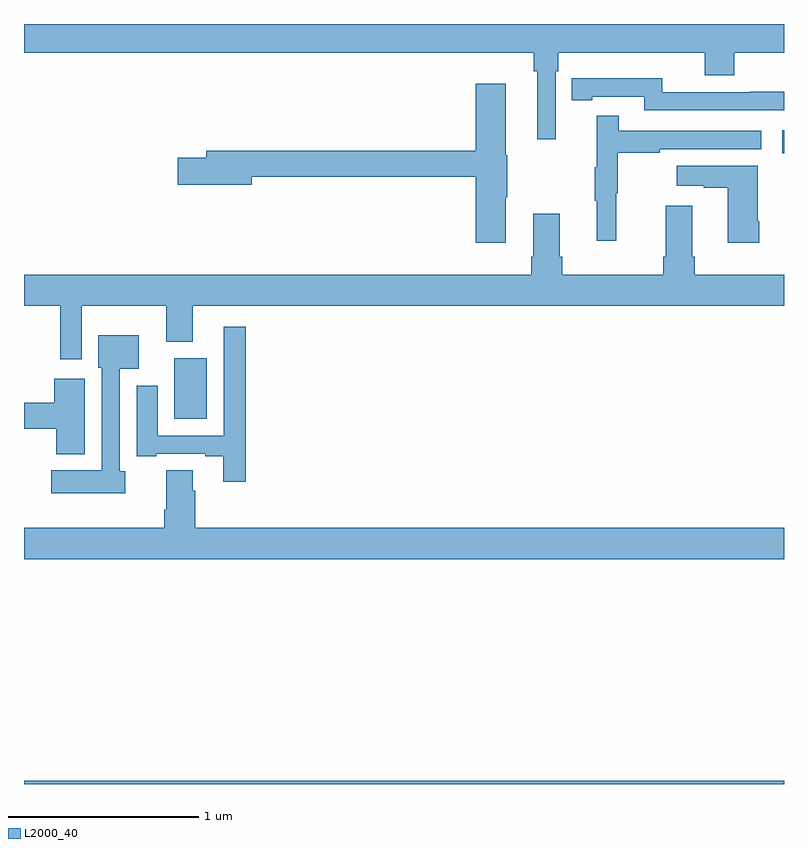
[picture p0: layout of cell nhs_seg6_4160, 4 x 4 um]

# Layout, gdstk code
import gdstk
lib = gdstk.Library(unit=1e-6, precision=1e-09)
def R(c, l, rs):  # rectangles x0, y0, x1, y1
    for r in rs: c.add(gdstk.rectangle(r[:2], r[2:], *l))
def P(c, l, *ps):  # polygons
    for p in ps: c.add(gdstk.Polygon(p, *l))
L2000_40 = (2000, 40)

nhs_seg6_4160 = lib.new_cell('nhs_seg6_4160')
R(nhs_seg6_4160, L2000_40, [(357,931.5,361,931.516), (357.791,933.422,357.961,933.742), (360.99,934.821,361,934.942)])
P(nhs_seg6_4160, L2000_40, [(359.799,935.252),(359.813,935.252),(359.813,935.348),(360.584,935.348),(360.584,935.231),(360.737,935.231),(360.737,935.348),(361,935.348),(361,935.5),(357,935.5),(357,935.348),(359.683,935.348),(359.683,935.252),(359.702,935.252),(359.702,934.893),(359.799,934.893)],
  [(361,935.144),(360.82,935.144),(360.82,935.142),(360.36,935.142),(360.36,935.215),(359.992,935.215),(359.992,935.214),(359.884,935.214),(359.884,935.098),(359.992,935.098),(359.992,935.118),(360.264,935.118),(360.264,935.046),(361,935.046)],
  [(359.536,934.588),(359.544,934.588),(359.544,934.809),(359.536,934.809),(359.536,935.185),(359.378,935.185),(359.378,934.832),(357.959,934.832),(357.959,934.796),(357.81,934.796),(357.81,934.654),(358.198,934.654),(358.198,934.696),(359.378,934.696),(359.378,934.35),(359.536,934.35)],
  [(360.116,934.608),(360.124,934.608),(360.124,934.822),(360.347,934.822),(360.347,934.842),(360.88,934.842),(360.88,934.938),(360.131,934.938),(360.131,935.017),(360.014,935.017),(360.014,934.745),(360.003,934.745),(360.003,934.571),(360.014,934.571),(360.014,934.359),(360.116,934.359)],
  [(360.87,934.462),(360.862,934.462),(360.862,934.753),(360.435,934.753),(360.435,934.649),(360.578,934.649),(360.578,934.639),(360.704,934.639),(360.704,934.35),(360.87,934.35)],
  [(357.304,934.016),(357.749,934.016),(357.749,933.827),(357.889,933.827),(357.889,934.016),(361,934.016),(361,934.18),(360.53,934.18),(360.53,934.276),(360.517,934.276),(360.517,934.543),(360.377,934.543),(360.377,934.276),(360.365,934.276),(360.365,934.18),(359.834,934.18),(359.834,934.276),(359.821,934.276),(359.821,934.501),(359.681,934.501),(359.681,934.276),(359.669,934.276),(359.669,934.18),(357,934.18),(357,934.016),(357.191,934.016),(357.191,933.735),(357.304,933.735)],
  [(358.166,933.907),(358.05,933.907),(358.05,933.333),(357.703,933.333),(357.703,933.595),(357.593,933.595),(357.593,933.225),(357.697,933.225),(357.697,933.237),(357.953,933.237),(357.953,933.225),(358.049,933.225),(358.049,933.09),(358.166,933.09)],
  [(357.532,933.147),(357.504,933.147),(357.504,933.686),(357.604,933.686),(357.604,933.862),(357.392,933.862),(357.392,933.69),(357.408,933.69),(357.408,933.151),(357.144,933.151),(357.144,933.029),(357.532,933.029)],
  [(357.319,933.634),(357.158,933.634),(357.158,933.506),(357,933.506),(357,933.371),(357.17,933.371),(357.17,933.236),(357.319,933.236)],
  [(361,932.848),(357.902,932.848),(357.902,933.044),(357.889,933.044),(357.889,933.152),(357.749,933.152),(357.749,932.944),(357.737,932.944),(357.737,932.848),(357,932.848),(357,932.684),(361,932.684)])

lib.write_gds('nhs_seg6_4160.gds')
